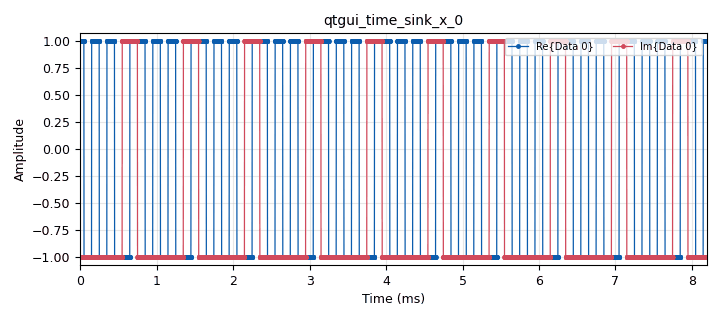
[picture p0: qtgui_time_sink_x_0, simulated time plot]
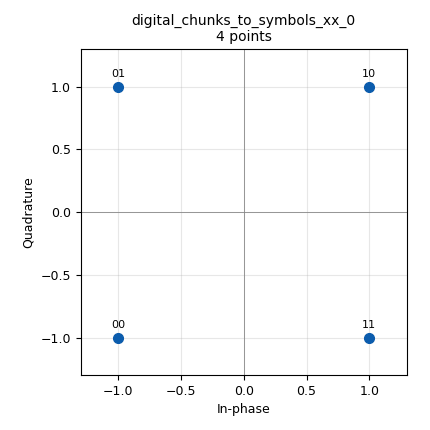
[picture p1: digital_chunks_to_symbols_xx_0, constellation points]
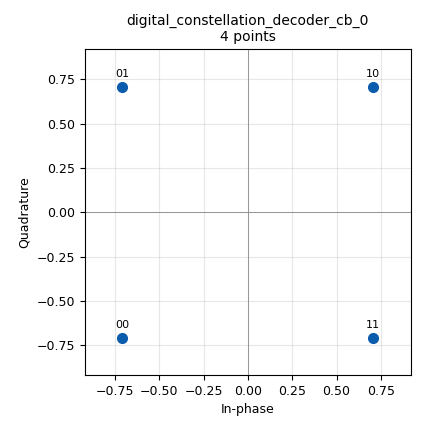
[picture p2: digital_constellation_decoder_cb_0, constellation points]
options:
  parameters:
    author: jason
    generate_options: qt_gui
    generator_class_name: PythonQtGuiGenerator
    generator_module: gnuradio.grc.workflows.python_qt_gui
    id: lesson13_QPSK_square_pulse
    output_language: python
    title: lesson13_QPSK_square_pulse
  states: {}

blocks:
- name: center_freq
  id: variable
  parameters:
    value: 915e6
  states: {}
- name: constellation
  id: variable_constellation
  parameters:
    comment: |-
      Must know that symbols are secretly and
      automatically normalized so that
      mean(abs(symbols))==1
    const_points: symbols
    dims: '1'
    normalization: digital.constellation.AMPLITUDE_NORMALIZATION
    precision: '8'
    rot_sym: '4'
    sym_map: '[0, 1,2,3]'
    type: calcdist
  states: {}
- name: offset
  id: variable_qtgui_range
  parameters:
    start: '-20e3'
    step: '1'
    stop: 20e3
    value: +12e3
  states: {}
- name: rx_gain
  id: variable_qtgui_range
  parameters:
    start: '0'
    step: '1'
    stop: '70'
    value: '10'
  states: {}
- name: samp_rate
  id: variable
  parameters:
    value: 1e6
  states: {}
- name: sps
  id: variable
  parameters:
    value: '100'
  states: {}
- name: symbols
  id: variable
  parameters:
    value: '[0.4, 0.8, 1.2, 1.6]'
  states: {state: disabled}
- name: symbols
  id: variable
  parameters:
    value: '[1,1j, -1, -1j]'
  states: {state: disabled}
- name: symbols
  id: variable
  parameters:
    comment: |-
      need diagonals to use
      Constellation Decoder
    value: '[-1-1j, -1+1j, 1+1j, 1-1j]'
  states: {}
- name: tx_attenuation
  id: variable_qtgui_range
  parameters:
    start: '0'
    step: '1'
    stop: '89'
    value: '10'
  states: {}
- name: analog_agc_xx_0
  id: analog_agc_xx
  parameters:
    gain: '1.0'
    max_gain: '65536'
    rate: '1e-4'
    reference: '1.0'
    type: complex
  states: {}
- name: analog_random_uniform_source_x_0
  id: analog_random_uniform_source_x
  parameters:
    maximum: '4'
    minimum: '0'
    seed: '0'
    type: byte
  states: {state: disabled}
- name: analog_sig_source_x_0
  id: analog_sig_source_x
  parameters:
    amp: '1'
    freq: offset
    offset: '0'
    phase: '0'
    samp_rate: samp_rate
    type: complex
    waveform: analog.GR_COS_WAVE
  states: {}
- name: blocks_char_to_float_0
  id: blocks_char_to_float
  parameters:
    scale: '1'
  states: {}
- name: blocks_exponentiate_const_cci_0
  id: blocks_exponentiate_const_cci
  parameters:
    exponent: '4'
  states: {}
- name: blocks_multiply_xx_0
  id: blocks_multiply_xx
  parameters:
    type: complex
  states: {}
- name: blocks_repeat_0
  id: blocks_repeat
  parameters:
    interp: sps
    type: complex
  states: {}
- name: blocks_vector_source_x_0
  id: blocks_vector_source_x
  parameters:
    repeat: 'True'
    type: byte
    vector: '[0,1,2,3,0,3,0,3]'
  states: {}
- name: digital_chunks_to_symbols_xx_0
  id: digital_chunks_to_symbols_xx
  parameters:
    dimension: '1'
    in_type: byte
    out_type: complex
    symbol_table: symbols
  states: {}
- name: digital_constellation_decoder_cb_0
  id: digital_constellation_decoder_cb
  parameters:
    constellation: constellation
  states: {}
- name: digital_costas_loop_cc_0
  id: digital_costas_loop_cc
  parameters:
    comment: |-
      Loop Bandwidth:
      2*3.14/100
    order: '4'
    w: 2*3.14/100
  states: {}
- name: iio_pluto_sink_0_0
  id: iio_pluto_sink
  parameters:
    attenuation1: tx_attenuation
    bandwidth: int(samp_rate)
    buffer_size: '32768'
    cyclic: 'False'
    filter_source: '''Auto'''
    frequency: int(center_freq)
    samplerate: int(samp_rate)
    type: fc32
    uri: 192.168.2.1
  states: {}
- name: qtgui_const_sink_x_0
  id: qtgui_const_sink_x
  parameters:
    label1: Receive Raw
    size: '1024'
    type: complex
  states: {state: disabled}
- name: qtgui_const_sink_x_0_0
  id: qtgui_const_sink_x
  parameters:
    label1: Receive Tuned
    size: '1024'
    type: complex
  states: {}
- name: qtgui_const_sink_x_0_0_0
  id: qtgui_const_sink_x
  parameters:
    label1: Receive Costas
    size: '1024'
    type: complex
  states: {}
- name: qtgui_freq_sink_x_0
  id: qtgui_freq_sink_x
  parameters:
    average: '0.05'
    bw: samp_rate
    fc: '0'
    fftsize: 1024*8
    label1: Receive Raw
    type: complex
  states: {state: disabled}
- name: qtgui_freq_sink_x_0_0
  id: qtgui_freq_sink_x
  parameters:
    bw: samp_rate
    fc: '0'
    fftsize: 1024*8
    label1: Receive Tuned
    type: complex
  states: {}
- name: qtgui_time_sink_x_0
  id: qtgui_time_sink_x
  parameters:
    marker1: '0'
    marker2: '0'
    size: 1024*8
    srate: samp_rate
    type: complex
  states: {}
- name: qtgui_time_sink_x_0_0
  id: qtgui_time_sink_x
  parameters:
    label1: Receive Raw Re
    label2: Receive Raw Im
    size: 1024*8
    srate: samp_rate
    type: complex
  states: {state: disabled}
- name: qtgui_time_sink_x_0_0_0
  id: qtgui_time_sink_x
  parameters:
    label1: Receive Tuned Re
    label2: Receive Tuned Im
    size: 1024*8
    srate: samp_rate
    type: complex
  states: {}
- name: qtgui_time_sink_x_0_0_0_0
  id: qtgui_time_sink_x
  parameters:
    label1: Receive^4 Re
    label2: Receive^4 Im
    size: 1024*8
    srate: samp_rate
    type: complex
  states: {}
- name: qtgui_time_sink_x_0_0_0_1
  id: qtgui_time_sink_x
  parameters:
    label1: Receive Costas Re
    label2: Receive Costas Im
    size: 1024*8
    srate: samp_rate
    type: complex
  states: {}
- name: qtgui_time_sink_x_1
  id: qtgui_time_sink_x
  parameters:
    label1: Decoded
    size: 1024*8
    srate: samp_rate
    type: float
    ymax: '4'
  states: {}
- name: rtlsdr_source_0
  id: rtlsdr_source
  parameters:
    bb_gain0: '20'
    freq0: center_freq
    gain0: rx_gain
    gain_mode0: 'False'
    if_gain0: '20'
    sample_rate: samp_rate
    sync: sync
    type: fc32
  states: {}

connections:
- [analog_agc_xx_0, '0', blocks_exponentiate_const_cci_0, '0']
- [analog_random_uniform_source_x_0, '0', digital_chunks_to_symbols_xx_0, '0']
- [analog_sig_source_x_0, '0', blocks_multiply_xx_0, '1']
- [blocks_char_to_float_0, '0', qtgui_time_sink_x_1, '0']
- [blocks_exponentiate_const_cci_0, '0', qtgui_time_sink_x_0_0_0_0, '0']
- [blocks_multiply_xx_0, '0', analog_agc_xx_0, '0']
- [blocks_multiply_xx_0, '0', digital_costas_loop_cc_0, '0']
- [blocks_multiply_xx_0, '0', qtgui_const_sink_x_0_0, '0']
- [blocks_multiply_xx_0, '0', qtgui_freq_sink_x_0_0, '0']
- [blocks_multiply_xx_0, '0', qtgui_time_sink_x_0_0_0, '0']
- [blocks_repeat_0, '0', iio_pluto_sink_0_0, '0']
- [blocks_repeat_0, '0', qtgui_time_sink_x_0, '0']
- [blocks_vector_source_x_0, '0', digital_chunks_to_symbols_xx_0, '0']
- [digital_chunks_to_symbols_xx_0, '0', blocks_repeat_0, '0']
- [digital_constellation_decoder_cb_0, '0', blocks_char_to_float_0, '0']
- [digital_costas_loop_cc_0, '0', digital_constellation_decoder_cb_0, '0']
- [digital_costas_loop_cc_0, '0', qtgui_const_sink_x_0_0_0, '0']
- [digital_costas_loop_cc_0, '0', qtgui_time_sink_x_0_0_0_1, '0']
- [rtlsdr_source_0, '0', blocks_multiply_xx_0, '0']
- [rtlsdr_source_0, '0', qtgui_const_sink_x_0, '0']
- [rtlsdr_source_0, '0', qtgui_freq_sink_x_0, '0']
- [rtlsdr_source_0, '0', qtgui_time_sink_x_0_0, '0']

metadata:
  file_format: 1
  grc_version: 3.10.12.0
